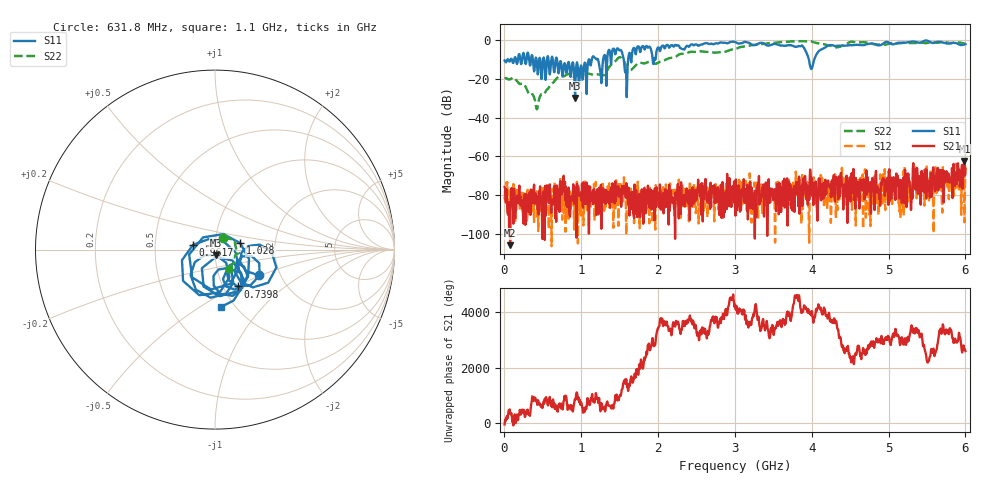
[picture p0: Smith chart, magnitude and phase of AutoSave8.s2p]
!Agilent N9923A: A.05.17
!Date: Sunday, 01 January 2006 13:19:30
!Model: N9923A
!Serial: MY50371189
!CHECKSUM:0302032815
!Correction: S11(ON U)S21(OFF)S12(OFF)S22(OFF)
!S2P File: Measurements:S11,S21,S12,S22:
# Hz S RI R 50
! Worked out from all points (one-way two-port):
!   1001 points, 2 MHz to 6 GHz, reference 50 ohm
!   highest |S21| = -62.43 dB at 5.988 GHz (marker M1); lowest = -106.0 dB at 73.98 MHz (marker M2)
!   lowest |S11| = -29.8 dB at 919.7 MHz (marker M3), VSWR 1.07, Z = 50.6 - j3.21 ohm
!   |S11| at or under -10 dB: 683.5 MHz to 1.098 GHz (414.7 MHz wide, 46.5 % of centre); 1.218 GHz to 1.285 GHz (66.24 MHz wide, 5.29 % of centre); 3.962 GHz to 4.033 GHz (70.36 MHz wide, 1.76 % of centre) (the widest 3 of 24)
!   |S22| runs from -35.8 to -0.5 dB; largest |S21 - S12| = 0.00099
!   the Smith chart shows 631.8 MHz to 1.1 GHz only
!   S11 on the Smith chart (normalised r, x): 631.8 MHz: 1.55, -0.48; 739.8 MHz: 1.17, -0.51; 961.7 MHz: 0.78, +0.04; 1.028 GHz: 1.32, +0.10; 1.1 GHz: 0.87, -0.62
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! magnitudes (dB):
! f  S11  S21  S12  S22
! 2 MHz  -10.5  -75.8  -82.2  -19.6
! 73.98 MHz  -10.6  -106.0  -83.7  -20.3
! 421.9 MHz  -11.6  -82.5  -78.2  -35.8
! 631.8 MHz  -11.0  -83.7  -78.1  -22.0
! 739.8 MHz  -12.4  -76.0  -84.8  -18.5
! 919.7 MHz  -29.8  -78.5  -81.2  -18.8
! 961.7 MHz  -18.0  -75.7  -76.9  -17.8
! 1.004 GHz  -14.0  -83.0  -80.1  -17.8
! 1.028 GHz  -16.8  -73.5  -95.7  -18.0
! 1.1 GHz  -9.9  -100.1  -78.3  -17.4
! 1.49 GHz  -5.1  -80.9  -73.0  -8.9
! 1.579 GHz  -15.7  -81.5  -81.2  -12.9
! 1.705 GHz  -7.1  -78.3  -75.3  -13.1
! 2.005 GHz  -3.7  -79.2  -86.7  -11.5
! 3.001 GHz  -0.9  -74.4  -86.8  -4.6
! 3.865 GHz  -2.9  -77.2  -94.9  -0.5
! 4.003 GHz  -14.5  -79.0  -80.4  -0.7
! 4.225 GHz  -2.6  -75.7  -74.5  -2.7
! 5.004 GHz  -1.3  -70.4  -73.9  -1.8
! 5.706 GHz  -1.2  -67.2  -65.6  -0.8
! 5.988 GHz  -2.2  -62.4  -94.1  -1.7
! 6 GHz  -2.1  -66.7  -65.2  -1.8
